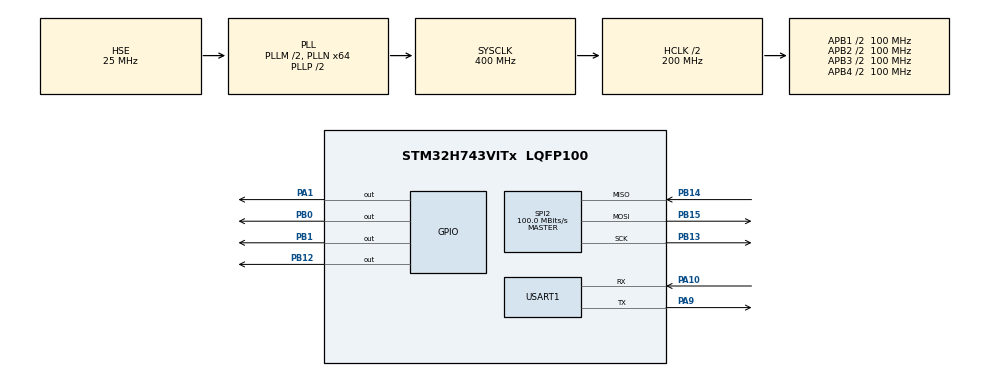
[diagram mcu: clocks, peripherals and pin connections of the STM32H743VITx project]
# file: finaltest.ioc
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CORTEX_M7.CPU_DCache=Enabled
CORTEX_M7.CPU_ICache=Enabled
Dma.Request0=SPI2_TX
Dma.Request1=SPI2_RX
Dma.SPI2_RX.1.Direction=DMA_PERIPH_TO_MEMORY
Dma.SPI2_RX.1.EventEnable=DISABLE
Dma.SPI2_RX.1.FIFOMode=DMA_FIFOMODE_DISABLE
Dma.SPI2_RX.1.Instance=DMA1_Stream4
Dma.SPI2_RX.1.MemDataAlignment=DMA_MDATAALIGN_BYTE
Dma.SPI2_RX.1.MemInc=DMA_MINC_ENABLE
Dma.SPI2_RX.1.Mode=DMA_NORMAL
Dma.SPI2_RX.1.PeriphDataAlignment=DMA_PDATAALIGN_BYTE
Dma.SPI2_RX.1.PeriphInc=DMA_PINC_DISABLE
Dma.SPI2_RX.1.Polarity=HAL_DMAMUX_REQ_GEN_RISING
Dma.SPI2_RX.1.Priority=DMA_PRIORITY_LOW
Dma.SPI2_RX.1.RequestNumber=1
Dma.SPI2_RX.1.SignalID=NONE
Dma.SPI2_RX.1.SyncEnable=DISABLE
Dma.SPI2_RX.1.SyncPolarity=HAL_DMAMUX_SYNC_NO_EVENT
Dma.SPI2_RX.1.SyncRequestNumber=1
Dma.SPI2_RX.1.SyncSignalID=NONE
Dma.SPI2_TX.0.Direction=DMA_MEMORY_TO_PERIPH
Dma.SPI2_TX.0.EventEnable=DISABLE
Dma.SPI2_TX.0.FIFOMode=DMA_FIFOMODE_DISABLE
Dma.SPI2_TX.0.Instance=DMA1_Stream3
Dma.SPI2_TX.0.MemDataAlignment=DMA_MDATAALIGN_BYTE
Dma.SPI2_TX.0.MemInc=DMA_MINC_ENABLE
Dma.SPI2_TX.0.Mode=DMA_NORMAL
Dma.SPI2_TX.0.PeriphDataAlignment=DMA_PDATAALIGN_BYTE
Dma.SPI2_TX.0.PeriphInc=DMA_PINC_DISABLE
Dma.SPI2_TX.0.Polarity=HAL_DMAMUX_REQ_GEN_RISING
Dma.SPI2_TX.0.Priority=DMA_PRIORITY_LOW
Dma.SPI2_TX.0.RequestNumber=1
Dma.SPI2_TX.0.SignalID=NONE
Dma.SPI2_TX.0.SyncEnable=DISABLE
Dma.SPI2_TX.0.SyncPolarity=HAL_DMAMUX_SYNC_NO_EVENT
Dma.SPI2_TX.0.SyncRequestNumber=1
Dma.SPI2_TX.0.SyncSignalID=NONE
FREERTOS.BinarySemaphores01=fimish,Dynamic,NULL
FREERTOS.Tasks01=display_lcd,0,4096,display_lcd1,Default,NULL,Dynamic,NULL,NULL;inf,0,2048,info,Default,NULL,Dynamic,NULL,NULL;mp3,-1,1024,out,Default,NULL,Dynamic,NULL,NULL
FREERTOS.configTOTAL_HEAP_SIZE=65536
Mcu.Family=STM32H7
Mcu.Name=STM32H743VITx
Mcu.Package=LQFP100
NVIC.DMA1_Stream3_IRQn=true\:5\:0\:false\:false\:true\:true\:false\:true\:true
NVIC.DMA1_Stream4_IRQn=true\:5\:0\:false\:false\:true\:true\:false\:true\:true
NVIC.PriorityGroup=NVIC_PRIORITYGROUP_4
NVIC.SPI2_IRQn=true\:5\:0\:false\:false\:true\:true\:true\:true\:true
NVIC.TIM1_UP_IRQn=true\:15\:0\:false\:false\:true\:false\:false\:true\:true
NVIC.TimeBase=TIM1_UP_IRQn
NVIC.TimeBaseIP=TIM1
NVIC.USART1_IRQn=true\:5\:0\:false\:false\:true\:true\:true\:true\:true
PA1.Signal=GPIO_Output
PA10.GPIO_PuPd=GPIO_PULLUP
PA10.GPIO_Speed=GPIO_SPEED_FREQ_VERY_HIGH
PA10.Mode=Asynchronous
PA10.Signal=USART1_RX
PA13\ (JTMS/SWDIO).Mode=Serial_Wire
PA13\ (JTMS/SWDIO).Signal=DEBUG_JTMS-SWDIO
PA14\ (JTCK/SWCLK).Mode=Serial_Wire
PA14\ (JTCK/SWCLK).Signal=DEBUG_JTCK-SWCLK
PA9.GPIO_PuPd=GPIO_PULLUP
PA9.GPIO_Speed=GPIO_SPEED_FREQ_VERY_HIGH
PA9.Mode=Asynchronous
PA9.Signal=USART1_TX
PB0.Signal=GPIO_Output
PB1.Signal=GPIO_Output
PB12.Signal=GPIO_Output
PB13.GPIO_PuPd=GPIO_PULLUP
PB13.GPIO_Speed=GPIO_SPEED_FREQ_VERY_HIGH
PB13.Mode=Full_Duplex_Master
PB13.Signal=SPI2_SCK
PB14.GPIO_PuPd=GPIO_PULLUP
PB14.GPIO_Speed=GPIO_SPEED_FREQ_VERY_HIGH
PB14.Mode=Full_Duplex_Master
PB14.Signal=SPI2_MISO
PB15.GPIO_PuPd=GPIO_PULLUP
PB15.GPIO_Speed=GPIO_SPEED_FREQ_VERY_HIGH
PB15.Mode=Full_Duplex_Master
PB15.Signal=SPI2_MOSI
PH0-OSC_IN\ (PH0).Mode=HSE-External-Oscillator
PH0-OSC_IN\ (PH0).Signal=RCC_OSC_IN
PH1-OSC_OUT\ (PH1).Mode=HSE-External-Oscillator
PH1-OSC_OUT\ (PH1).Signal=RCC_OSC_OUT
ProjectManager.HeapSize=0x800
ProjectManager.StackSize=0x1000
ProjectManager.TargetToolchain=MDK-ARM V5.32
RCC.ADCFreq_Value=50390625
RCC.APB1CLKDivider=RCC_HCLK_DIV4
RCC.APB1Freq_Value=100000000
RCC.APB2CLKDivider=RCC_HCLK_DIV2
RCC.APB2Freq_Value=100000000
RCC.APB3Freq_Value=100000000
RCC.APB4Freq_Value=100000000
RCC.CortexFreq_Value=400000000
RCC.D1PPRE=RCC_APB3_DIV2
RCC.D2PPRE1=RCC_APB1_DIV2
RCC.D2PPRE2=RCC_APB2_DIV2
RCC.D3PPRE=RCC_APB4_DIV2
RCC.DIVM1=2
RCC.DIVM3=4
RCC.DIVN1=64
RCC.DIVN3=480
RCC.DIVQ1=4
RCC.DIVQ3=8
RCC.FLatency=FLASH_LATENCY_2
RCC.HCLKFreq_Value=200000000
RCC.HPRE=RCC_HCLK_DIV2
RCC.HSE_VALUE=25000000
RCC.PLL2FRACN=0
RCC.PLL3FRACN=0
RCC.PLLFRACN=0
RCC.PLLM=25
RCC.PLLMUL=RCC_PLL_MUL9
RCC.PLLN=432
RCC.PLLQ=9
RCC.PLLSourceVirtual=RCC_PLLSOURCE_HSE
RCC.PRESCALERUSB=RCC_USBCLKSOURCE_PLL_DIV1_5
RCC.PWR_Regulator_Voltage_Scale=PWR_REGULATOR_VOLTAGE_SCALE0
RCC.ProductRev=revV
RCC.SYSCLKFreq_VALUE=400000000
RCC.SYSCLKSource=RCC_SYSCLKSOURCE_PLLCLK
RCC.SYSCLKSourceVirtual=RCC_SYSCLKSOURCE_PLLCLK
RCC.USBFreq_Value=200000000
SPI2.BaudRatePrescaler=SPI_BAUDRATEPRESCALER_2
SPI2.CLKPhase=SPI_PHASE_2EDGE
SPI2.CLKPolarity=SPI_POLARITY_HIGH
SPI2.CalculateBaudRate=100.0 MBits/s
SPI2.DataSize=SPI_DATASIZE_8BIT
SPI2.Direction=SPI_DIRECTION_2LINES
SPI2.Mode=SPI_MODE_MASTER
SPI2.NSSPMode=SPI_NSS_PULSE_DISABLE
SPI2.VirtualType=VM_MASTER
STMicroelectronics.X-CUBE-AI.10.1.0.ActivationBufferSizeList=85972
STMicroelectronics.X-CUBE-AI.10.1.0.ActivationBuffers=pool0
STMicroelectronics.X-CUBE-AI.10.1.0.ActivationNames=pool0
STMicroelectronics.X-CUBE-AI.10.1.0.ActivationSizes=AI_GESTURE_FINETUNED_DATA_ACTIVATION_1_SIZE
STMicroelectronics.X-CUBE-AI.10.1.0.ApplicationCcDeviceJjApplication=ApplicationTemplate
STMicroelectronics.X-CUBE-AI.10.1.0.HeapSize=0x800
STMicroelectronics.X-CUBE-AI.10.1.0.InternalRamActivationBufferMaxSize=AI_GESTURE_FINETUNED_DATA_ACTIVATIONS_SIZE
STMicroelectronics.X-CUBE-AI.10.1.0.LatestDirectoryUsed-99fc26bcc0df9499d615fe96e4c271bedb2c23f4d4306aec418c9652549e31ef=C\:\\Users\\zzc\\Desktop
STMicroelectronics.X-CUBE-AI.10.1.0.MaximumNumberOfInputLayer=1
STMicroelectronics.X-CUBE-AI.10.1.0.MaximumNumberOfOutputLayer=1
STMicroelectronics.X-CUBE-AI.10.1.0.MaximumSizeOfInputLayer=1
STMicroelectronics.X-CUBE-AI.10.1.0.MaximumSizeOfOutputLayer=1
STMicroelectronics.X-CUBE-AI.10.1.0.ModelActualCompression-99fc26bcc0df9499d615fe96e4c271bedb2c23f4d4306aec418c9652549e31ef=0.0
STMicroelectronics.X-CUBE-AI.10.1.0.ModelCompression-99fc26bcc0df9499d615fe96e4c271bedb2c23f4d4306aec418c9652549e31ef=High
STMicroelectronics.X-CUBE-AI.10.1.0.ModelFlashOccupation-99fc26bcc0df9499d615fe96e4c271bedb2c23f4d4306aec418c9652549e31ef=127676
STMicroelectronics.X-CUBE-AI.10.1.0.ModelHashList=99fc26bcc0df9499d615fe96e4c271bedb2c23f4d4306aec418c9652549e31ef
STMicroelectronics.X-CUBE-AI.10.1.0.ModelKind-99fc26bcc0df9499d615fe96e4c271bedb2c23f4d4306aec418c9652549e31ef=TFLITE
STMicroelectronics.X-CUBE-AI.10.1.0.ModelMacc-99fc26bcc0df9499d615fe96e4c271bedb2c23f4d4306aec418c9652549e31ef=7406168
STMicroelectronics.X-CUBE-AI.10.1.0.ModelName-99fc26bcc0df9499d615fe96e4c271bedb2c23f4d4306aec418c9652549e31ef=gesture_finetuned
STMicroelectronics.X-CUBE-AI.10.1.0.ModelNameList=gesture_finetuned
STMicroelectronics.X-CUBE-AI.10.1.0.ModelRamOccupation-99fc26bcc0df9499d615fe96e4c271bedb2c23f4d4306aec418c9652549e31ef=85972
STMicroelectronics.X-CUBE-AI.10.1.0.ModelStructureFile-99fc26bcc0df9499d615fe96e4c271bedb2c23f4d4306aec418c9652549e31ef=C\:\\Users\\zzc\\Desktop\\gesture_cnn_combined_fp32.tflite
STMicroelectronics.X-CUBE-AI.10.1.0.ModelType-99fc26bcc0df9499d615fe96e4c271bedb2c23f4d4306aec418c9652549e31ef=STM32Cube.AI MCU runtime
STMicroelectronics.X-CUBE-AI.10.1.0.ReadyForCodeGeneration=true
STMicroelectronics.X-CUBE-AI.10.1.0.StackSize=0x1000
STMicroelectronics.X-CUBE-AI.10.1.0.WorkingBufferStartAddrList=0xFFFFFFFF
STMicroelectronics.X-CUBE-AI.10.1.0.XAaCUBEAaAICcArtificialOoIntelligenceJjCore=true
STMicroelectronics.X-CUBE-AI.10.1.0.copyWeightToRam=false
STMicroelectronics.X-CUBE-AI.10.1.0.copyWeightToRam-99fc26bcc0df9499d615fe96e4c271bedb2c23f4d4306aec418c9652549e31ef=false
STMicroelectronics.X-CUBE-AI.10.1.0.customLayerConfigEnabled=false
STMicroelectronics.X-CUBE-AI.10.1.0.customLayerConfigEnabled-99fc26bcc0df9499d615fe96e4c271bedb2c23f4d4306aec418c9652549e31ef=false
STMicroelectronics.X-CUBE-AI.10.1.0.noOnnxIoTranspose=false
STMicroelectronics.X-CUBE-AI.10.1.0.noOnnxIoTranspose-99fc26bcc0df9499d615fe96e4c271bedb2c23f4d4306aec418c9652549e31ef=false
STMicroelectronics.X-CUBE-AI.10.1.0.useInputAllocation=true
STMicroelectronics.X-CUBE-AI.10.1.0.useInputAllocation-99fc26bcc0df9499d615fe96e4c271bedb2c23f4d4306aec418c9652549e31ef=true
STMicroelectronics.X-CUBE-AI.10.1.0.useOutputAllocation=true
STMicroelectronics.X-CUBE-AI.10.1.0.useOutputAllocation-99fc26bcc0df9499d615fe96e4c271bedb2c23f4d4306aec418c9652549e31ef=true
USART1.VirtualMode-Asynchronous=VM_ASYNC
VP_FREERTOS_VS_CMSIS_V1.Mode=CMSIS_V1
VP_STMicroelectronics.X-CUBE-AI_VS_ArtificialOoIntelligenceJjXAaCUBEAaAI_10.1.0.Mode=ArtificialOoIntelligenceJjXAaCUBEAaAI
VP_STMicroelectronics.X-CUBE-AI_VS_DeviceJjApplication_10.1.0.Mode=DeviceJjApplication
VP_SYS_VS_tim1.Mode=TIM1
board=custom

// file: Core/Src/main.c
/* USER CODE BEGIN Header */
/**
  ******************************************************************************
  * @file           : main.c
  * @brief          : Main program body
  ******************************************************************************
  */
/* USER CODE END Header */
#include "main.h"
#include "cmsis_os.h"
#include "dma.h"
#include "spi.h"
#include "usart.h"
#include "gpio.h"
#include "app_x-cube-ai.h"

/* USER CODE BEGIN Includes */
#include "ai_platform.h"
#include "gesture.h"
#include "gesture_data.h"
#include "delay.h"
#include "ai_service.h"
#include "app_init.h"
#include "config.h"
#include "log.h"
/* USER CODE END Includes */

/* USER CODE BEGIN PTD */
u8 Stm32_Clock_Init(u32 plln,u32 pllm,u32 pllp,u32 pllq);
/* USER CODE END PTD */

/* USER CODE BEGIN PD */
uint8_t Key_Flag;
uint8_t T_Num;
uint8_t Print_buf[32];
ai_handle network_handle = AI_HANDLE_NULL;

int g_predicted_digit = -1;
volatile int frame_counter = 0;

extern float ai_input_data[64*64*3];

/* FreeRTOS */
osSemaphoreId frame_sem;
osMessageQId infer_queue;
/* USER CODE END PD */

void SystemClock_Config(void);
void MX_FREERTOS_Init(void);

int main(void)
{

  /* Enable I-Cache---------------------------------------------------------*/
  SCB_EnableICache();

  /* Enable D-Cache---------------------------------------------------------*/
  SCB_EnableDCache();

  /* MCU Configuration--------------------------------------------------------*/
  HAL_Init();

  /* Configure the system clock */
  SystemClock_Config();

  /* Initialize all configured peripherals */
  MX_GPIO_Init();
  MX_DMA_Init();
  MX_USART1_UART_Init();
  MX_SPI2_Init();

  /* USER CODE BEGIN 2 */
  /* ── AI model init (must precede scheduler) ── */
  ai_service_init();

  /* ── System utilities ── */
  log_init();
  config_init();
  delay_init(SystemCoreClock / 1000000);

  /* ── Application layer init (drivers + services + UI) ── */
  app_init();

  /* ── DWT cycle counter for profiling ── */
  CoreDebug->DEMCR |= CoreDebug_DEMCR_TRCENA_Msk;
  DWT->CTRL |= DWT_CTRL_CYCCNTENA_Msk;
  DWT->CYCCNT = 0;
  /* USER CODE END 2 */

  /* Call init function for freertos objects (in freertos.c) */
  MX_FREERTOS_Init();

  /* Start scheduler */
  osKernelStart();

  /* We should never get here as control is now taken by the scheduler */
  /* Infinite loop */
  while (1)
  {
  }
}

/* ── SystemClock_Config (unchanged) ── */
void SystemClock_Config(void)
{
  RCC_OscInitTypeDef RCC_OscInitStruct = {0};
  RCC_ClkInitTypeDef RCC_ClkInitStruct = {0};

  HAL_PWREx_ConfigSupply(PWR_LDO_SUPPLY);

  __HAL_PWR_VOLTAGESCALING_CONFIG(PWR_REGULATOR_VOLTAGE_SCALE1);
  while(!__HAL_PWR_GET_FLAG(PWR_FLAG_VOSRDY)) {}

  __HAL_RCC_SYSCFG_CLK_ENABLE();
  __HAL_PWR_VOLTAGESCALING_CONFIG(PWR_REGULATOR_VOLTAGE_SCALE0);
  while(!__HAL_PWR_GET_FLAG(PWR_FLAG_VOSRDY)) {}

  RCC_OscInitStruct.OscillatorType = RCC_OSCILLATORTYPE_HSE;
  RCC_OscInitStruct.HSEState = RCC_HSE_ON;
  RCC_OscInitStruct.PLL.PLLState = RCC_PLL_ON;
  RCC_OscInitStruct.PLL.PLLSource = RCC_PLLSOURCE_HSE;
  RCC_OscInitStruct.PLL.PLLM = 2;
  RCC_OscInitStruct.PLL.PLLN = 64;
  RCC_OscInitStruct.PLL.PLLP = 2;
  RCC_OscInitStruct.PLL.PLLQ = 4;
  RCC_OscInitStruct.PLL.PLLR = 2;
  RCC_OscInitStruct.PLL.PLLRGE = RCC_PLL1VCIRANGE_3;
  RCC_OscInitStruct.PLL.PLLVCOSEL = RCC_PLL1VCOWIDE;
  RCC_OscInitStruct.PLL.PLLFRACN = 0;

  if (HAL_RCC_OscConfig(&RCC_OscInitStruct) != HAL_OK) Error_Handler();
  if (__HAL_RCC_GET_FLAG(RCC_FLAG_HSERDY) == RESET) Error_Handler();
  if (__HAL_RCC_GET_FLAG(RCC_FLAG_PLLRDY) == RESET) Error_Handler();

  RCC_ClkInitStruct.ClockType = RCC_CLOCKTYPE_HCLK|RCC_CLOCKTYPE_SYSCLK
                              |RCC_CLOCKTYPE_PCLK1|RCC_CLOCKTYPE_PCLK2
                              |RCC_CLOCKTYPE_D3PCLK1|RCC_CLOCKTYPE_D1PCLK1;
  RCC_ClkInitStruct.SYSCLKSource = RCC_SYSCLKSOURCE_PLLCLK;
  RCC_ClkInitStruct.SYSCLKDivider = RCC_SYSCLK_DIV1;
  RCC_ClkInitStruct.AHBCLKDivider = RCC_HCLK_DIV2;
  RCC_ClkInitStruct.APB3CLKDivider = RCC_APB3_DIV2;
  RCC_ClkInitStruct.APB1CLKDivider = RCC_APB1_DIV2;
  RCC_ClkInitStruct.APB2CLKDivider = RCC_APB2_DIV2;
  RCC_ClkInitStruct.APB4CLKDivider = RCC_APB4_DIV2;

  if (HAL_RCC_ClockConfig(&RCC_ClkInitStruct, FLASH_LATENCY_4) != HAL_OK)
    Error_Handler();
}

/* USER CODE BEGIN 4 */
u8 Stm32_Clock_Init(u32 plln,u32 pllm,u32 pllp,u32 pllq)
{
	HAL_StatusTypeDef ret=HAL_OK;
	RCC_ClkInitTypeDef RCC_ClkInitStruct;
	RCC_OscInitTypeDef RCC_OscInitStruct;

	MODIFY_REG(PWR->CR3,PWR_CR3_SCUEN, 0);
	__HAL_PWR_VOLTAGESCALING_CONFIG(PWR_REGULATOR_VOLTAGE_SCALE1);
	while ((PWR->D3CR & (PWR_D3CR_VOSRDY)) != PWR_D3CR_VOSRDY) {}

	RCC_OscInitStruct.OscillatorType=RCC_OSCILLATORTYPE_HSE;
	RCC_OscInitStruct.HSEState=RCC_HSE_ON;
	RCC_OscInitStruct.HSIState=RCC_HSI_OFF;
	RCC_OscInitStruct.CSIState=RCC_CSI_OFF;
	RCC_OscInitStruct.PLL.PLLState=RCC_PLL_ON;
	RCC_OscInitStruct.PLL.PLLSource=RCC_PLLSOURCE_HSE;
	RCC_OscInitStruct.PLL.PLLN=plln;
	RCC_OscInitStruct.PLL.PLLM=pllm;
	RCC_OscInitStruct.PLL.PLLP=pllp;
	RCC_OscInitStruct.PLL.PLLQ=pllq;
	RCC_OscInitStruct.PLL.PLLVCOSEL = RCC_PLL1VCOWIDE;
	RCC_OscInitStruct.PLL.PLLRGE = RCC_PLL1VCIRANGE_2;
	ret=HAL_RCC_OscConfig(&RCC_OscInitStruct);
	if(ret!=HAL_OK) return 1;

	RCC_ClkInitStruct.ClockType=(RCC_CLOCKTYPE_SYSCLK|RCC_CLOCKTYPE_HCLK|RCC_CLOCKTYPE_D1PCLK1|RCC_CLOCKTYPE_PCLK1|RCC_CLOCKTYPE_PCLK2|RCC_CLOCKTYPE_D3PCLK1);
	RCC_ClkInitStruct.SYSCLKSource=RCC_SYSCLKSOURCE_PLLCLK;
	RCC_ClkInitStruct.SYSCLKDivider=RCC_SYSCLK_DIV1;
	RCC_ClkInitStruct.AHBCLKDivider=RCC_HCLK_DIV2;
	RCC_ClkInitStruct.APB1CLKDivider=RCC_APB1_DIV2;
	RCC_ClkInitStruct.APB2CLKDivider=RCC_APB2_DIV2;
	RCC_ClkInitStruct.APB3CLKDivider=RCC_APB3_DIV2;
	RCC_ClkInitStruct.APB4CLKDivider=RCC_APB4_DIV4;
	ret=HAL_RCC_ClockConfig(&RCC_ClkInitStruct, FLASH_LATENCY_4);
	if(ret!=HAL_OK) return 1;

	__HAL_RCC_CSI_ENABLE() ;
	__HAL_RCC_SYSCFG_CLK_ENABLE() ;
	HAL_EnableCompensationCell();
	return 0;
}
/* USER CODE END 4 */

/* ── HAL_TIM_PeriodElapsedCallback ── */
void HAL_TIM_PeriodElapsedCallback(TIM_HandleTypeDef *htim)
{
  if (htim->Instance == TIM1) {
    HAL_IncTick();
  }
  else if (htim->Instance == TIM3) {
    extern u16 frame;
    frame = 0;
  }
  else if (htim->Instance == TIM6) {
    extern vu8 frameup;
    frameup = 1;
  }
}

/* ── Error_Handler ── */
void Error_Handler(void)
{
  __disable_irq();
  RCC->AHB4ENR |= RCC_AHB4ENR_GPIOBEN;
  (void)RCC->AHB4ENR;
  while (1)
  {
    for(volatile uint32_t i = 0; i < 10000000; i++);
    GPIOB->ODR ^= GPIO_PIN_1;
  }
}

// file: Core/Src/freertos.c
/* USER CODE BEGIN Header */
/**
  ******************************************************************************
  * File Name          : freertos.c
  * Description        : Code for freertos applications
  ******************************************************************************
  */
/* USER CODE END Header */

#include "FreeRTOS.h"
#include "task.h"
#include "main.h"
#include "cmsis_os.h"

/* USER CODE BEGIN Includes */
#include <stdio.h>
#include <string.h>
#include "camera_service.h"
#include "ai_service.h"
#include "ui_service.h"
#include "audio_service.h"
#include "gesture_app.h"
#include "key.h"
#include "menu.h"
#include "lvgl.h"
#include "lv_port_tick.h"
#include "camera_band_refresh.h"
#include "config.h"
#include "watchdog.h"
/* USER CODE END Includes */

/* USER CODE BEGIN PTD */
typedef enum { UI_STATE_READY, UI_STATE_INFER } ui_state_t;
/* USER CODE END PTD */

/* USER CODE BEGIN Variables */

/* ====== IPC: frameQueue (display → inference) ====== */
osMessageQDef(frameQueue, 4, uint32_t);
osMessageQId frameQueueHandle;

/* ====== IPC: resultQueue (inference → display) ====== */
typedef struct { int class; float prob; uint32_t inf_ms; } ui_event_t;
osMailQDef(resultQueue, 2, ui_event_t);
osMailQId  resultQueueHandle;

/* ====== UI state ====== */
static volatile ui_state_t g_ui_state = UI_STATE_READY;

/* USER CODE END Variables */
osThreadId display_lcdHandle;
osThreadId infHandle;
osThreadId mp3Handle;
osSemaphoreId fimishHandle;

void display_lcd1(void const * argument);
void info(void const * argument);
void out(void const * argument);

void MX_FREERTOS_Init(void); /* (MISRA C 2004 rule 8.1) */

/* GetIdleTaskMemory prototype (linked to static allocation support) */
void vApplicationGetIdleTaskMemory( StaticTask_t **ppxIdleTaskTCBBuffer, StackType_t **ppxIdleTaskStackBuffer, uint32_t *pulIdleTaskStackSize );

/* USER CODE BEGIN GET_IDLE_TASK_MEMORY */
static StaticTask_t xIdleTaskTCBBuffer;
static StackType_t xIdleStack[configMINIMAL_STACK_SIZE];

void vApplicationGetIdleTaskMemory( StaticTask_t **ppxIdleTaskTCBBuffer, StackType_t **ppxIdleTaskStackBuffer, uint32_t *pulIdleTaskStackSize )
{
  *ppxIdleTaskTCBBuffer = &xIdleTaskTCBBuffer;
  *ppxIdleTaskStackBuffer = &xIdleStack[0];
  *pulIdleTaskStackSize = configMINIMAL_STACK_SIZE;
}

void vApplicationGetTimerTaskMemory( StaticTask_t **ppxTimerTaskTCBBuffer, StackType_t **ppxTimerTaskStackBuffer, uint32_t *pulTimerTaskStackSize )
{
  static StaticTask_t xTimerTaskTCBBuffer;
  static StackType_t xTimerTaskStack[configTIMER_TASK_STACK_DEPTH];
  *ppxTimerTaskTCBBuffer = &xTimerTaskTCBBuffer;
  *ppxTimerTaskStackBuffer = xTimerTaskStack;
  *pulTimerTaskStackSize = configTIMER_TASK_STACK_DEPTH;
}
/* USER CODE END GET_IDLE_TASK_MEMORY */

void vApplicationStackOverflowHook(TaskHandle_t xTask, char *pcTaskName)
{
    taskDISABLE_INTERRUPTS();
    for(;;);
}

void MX_FREERTOS_Init(void) {

  /* Create the semaphores(s) */
  osSemaphoreDef(fimish);
  fimishHandle = osSemaphoreCreate(osSemaphore(fimish), 1);

  /* USER CODE BEGIN RTOS_QUEUES */
  frameQueueHandle  = osMessageCreate(osMessageQ(frameQueue), NULL);
  resultQueueHandle = osMailCreate(osMailQ(resultQueue), NULL);
  /* USER CODE END RTOS_QUEUES */

  /* Create the thread(s) */
  osThreadDef(display_lcd, display_lcd1, osPriorityNormal, 0, 4096);
  display_lcdHandle = osThreadCreate(osThread(display_lcd), NULL);

  osThreadDef(inf, info, osPriorityNormal, 0, 2048);
  infHandle = osThreadCreate(osThread(inf), NULL);

  osThreadDef(mp3, out, osPriorityBelowNormal, 0, 1024);
  mp3Handle = osThreadCreate(osThread(mp3), NULL);

}

/* ====== display_lcd1 — Camera preview + UI + recognition orchestration ====== */
void display_lcd1(void const * argument)
{
  /* USER CODE BEGIN display_lcd1 */
    uint32_t fps_last = 0, fps_cnt = 0;
    uint32_t current_fps = 0, current_inf_ms = 0;

    /* Init LVGL tick (needs task context) */
    lv_port_tick_init();
    ui_service_set_fps("FPS --");
    ui_service_set_result("--");
    ui_service_set_confidence("--%");
    ui_service_set_status("Ready");
    ui_service_update();

    /* Init MP3 BEFORE menu (menu_init calls audio_service_set_volume) */
    audio_service_init();
    audio_service_set_volume(config_get_volume());

    menu_init();
    lv_timer_handler();
    osDelay(100);

    /* Start camera streaming + watchdog */
    watchdog_init();
    camera_service_start();

    /* Track menu→recognize transition for state reset */
    uint8_t _was_recog = 0;

    for (;;)
    {
        /* ── Menu state transition: reset sliding window ── */
        uint8_t _now_recog = menu_is_recognize();
        if (_now_recog && !_was_recog) {
            gesture_app_reset();
        }
        _was_recog = _now_recog;

        /* ── Camera frame ready? ── */
        if (menu_is_recognize() && camera_service_frame_ready()) {
            camera_service_ack_frame();
            camera_service_invalidate_cache();
            camera_band_refresh();

            /* FPS counter */
            fps_cnt++;
            if (HAL_GetTick() - fps_last >= 1000) {
                current_fps = fps_cnt;
                fps_last = HAL_GetTick();
                fps_cnt   = 0;
                menu_set_fps(current_fps);
                char b[16]; snprintf(b, sizeof(b), "FPS %lu", current_fps);
                ui_service_set_fps(b);
            }

            /* Trigger inference if idle */
            if (g_ui_state == UI_STATE_READY) {
                osMessagePut(frameQueueHandle, 1, 0);
            }
        }

        /* ── Inference result ready? ── */
        if (menu_is_recognize()) {
            osEvent evt = osMailGet(resultQueueHandle, 0);
            if (evt.status == osEventMail) {
                ui_event_t *e = (ui_event_t *)evt.value.p;
                SCB_InvalidateDCache_by_Addr((uint32_t *)e, sizeof(ui_event_t));

                current_inf_ms = e->inf_ms;

                gesture_app_on_result(e->class, e->prob, e->inf_ms);

                osMailFree(resultQueueHandle, e);
                g_ui_state = UI_STATE_READY;
            }
        }

        /* Update menu stats every cycle */
        menu_set_stats(current_fps, current_inf_ms, xPortGetFreeHeapSize());

        /* UI state display */
        {
            static ui_state_t _prev = (ui_state_t)-1;
            if (g_ui_state != _prev) {
                _prev = g_ui_state;
                if (menu_is_recognize() && g_ui_state == UI_STATE_INFER)
                    ui_service_set_status("Inferencing...");
            }
        }

        /* Key scan (50ms debounce) */
        {
            static uint32_t _kt;
            if (HAL_GetTick() - _kt >= 50) {
                _kt = HAL_GetTick();
                menu_process_key(KEY_Scan(0));
            }
        }

        /* LVGL refresh */
        if (menu_is_recognize()) ui_service_update();
        lv_timer_handler();

        /* Feed watchdog (~500 Hz, timeout 4 s) */
        watchdog_feed();

        osDelay(2);
    }
  /* USER CODE END display_lcd1 */
}

/* ====== info — Inference worker task ====== */
void info(void const * argument)
{
  /* USER CODE BEGIN info */
    for (;;)
    {
        /* Block until a frame is ready */
        uint32_t _d;
        xQueueReceive((QueueHandle_t)frameQueueHandle, &_d, portMAX_DELAY);

        g_ui_state = UI_STATE_INFER;

        camera_service_invalidate_cache();

        /* Preprocess: RGB565 → 64×64 RGB888 float */
        camera_service_get_rgb888(ai_service_get_input_buf());

        /* Run inference */
        uint32_t t0 = HAL_GetTick();
        ai_service_run();
        uint32_t elapsed = HAL_GetTick() - t0;

        /* Post result to display task */
        ui_event_t *e = osMailAlloc(resultQueueHandle, osWaitForever);
        if (e) {
            e->class  = ai_service_get_class();
            e->prob   = ai_service_get_prob();
            e->inf_ms = elapsed;
            osMailPut(resultQueueHandle, e);
        }
    }
  /* USER CODE END info */
}

/* ====== out — MP3 idle task (playback driven by display task) ====== */
void out(void const * argument)
{
  /* USER CODE BEGIN out */
    for(;;) { osDelay(1000); }
  /* USER CODE END out */
}
